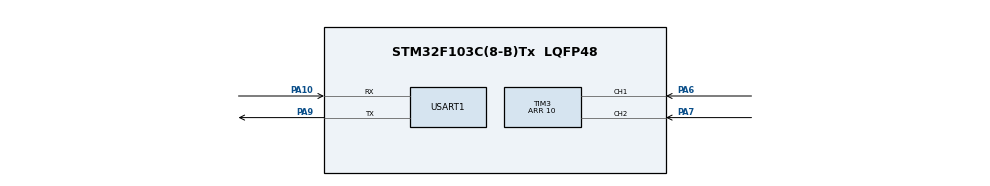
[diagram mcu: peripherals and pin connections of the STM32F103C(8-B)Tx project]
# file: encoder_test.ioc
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Mcu.Family=STM32F1
Mcu.Name=STM32F103C(8-B)Tx
Mcu.Package=LQFP48
NVIC.PriorityGroup=NVIC_PRIORITYGROUP_4
PA10.Mode=Asynchronous
PA10.Signal=USART1_RX
PA13.Mode=Serial_Wire
PA13.Signal=SYS_JTMS-SWDIO
PA14.Mode=Serial_Wire
PA14.Signal=SYS_JTCK-SWCLK
PA6.Signal=S_TIM3_CH1
PA7.Signal=S_TIM3_CH2
PA9.Mode=Asynchronous
PA9.Signal=USART1_TX
ProjectManager.HeapSize=0x200
ProjectManager.StackSize=0x400
ProjectManager.TargetToolchain=STM32CubeIDE
RCC.APB1Freq_Value=8000000
RCC.APB2Freq_Value=8000000
SH.S_TIM3_CH1.0=TIM3_CH1,Encoder_Interface
SH.S_TIM3_CH2.0=TIM3_CH2,Encoder_Interface
TIM3.AutoReloadPreload=TIM_AUTORELOAD_PRELOAD_ENABLE
TIM3.EncoderMode=TIM_ENCODERMODE_TI1
TIM3.Period=10
USART1.VirtualMode=VM_ASYNC
board=custom

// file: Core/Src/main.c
/* USER CODE BEGIN Header */
/**
 ******************************************************************************
 * @file           : main.c
 * @brief          : Main program body
 ******************************************************************************
 * @attention
 *
 * Copyright (c) 2024 STMicroelectronics.
 * All rights reserved.
 *
 * This software is licensed under terms that can be found in the LICENSE file
 * in the root directory of this software component.
 * If no LICENSE file comes with this software, it is provided AS-IS.
 *
 ******************************************************************************
 */
/* USER CODE END Header */
#include "main.h"

TIM_HandleTypeDef htim3;

UART_HandleTypeDef huart1;

void SystemClock_Config(void);
static void MX_GPIO_Init(void);
static void MX_TIM3_Init(void);
static void MX_USART1_UART_Init(void);

/* USER CODE BEGIN 0 */
#include <stdarg.h>
#include <stdio.h>
#include <string.h>

static void uart_printf(const char *format, ...) {
	char tmp[128];

	va_list argptr;
	va_start(argptr, format);
	vsprintf((char*) tmp, format, argptr);
	va_end(argptr);

	HAL_UART_Transmit(&huart1, (const uint8_t*) tmp, strlen(tmp),
			HAL_MAX_DELAY);
}
/* USER CODE END 0 */

int main(void)
{

  /* MCU Configuration--------------------------------------------------------*/

  /* Reset of all peripherals, Initializes the Flash interface and the Systick. */
  HAL_Init();

  /* Configure the system clock */
  SystemClock_Config();

  /* Initialize all configured peripherals */
  MX_GPIO_Init();
  MX_TIM3_Init();
  MX_USART1_UART_Init();
  /* USER CODE BEGIN 2 */
	HAL_TIM_Encoder_Start(&htim3, TIM_CHANNEL_1);
	HAL_TIM_Encoder_Start(&htim3, TIM_CHANNEL_2);
  /* USER CODE END 2 */

  /* Infinite loop */
  /* USER CODE BEGIN WHILE */
	while (1) {
		uint16_t cnt = __HAL_TIM_GET_COUNTER(&htim3);
		uart_printf("Count = %u\r\n", cnt);

		HAL_Delay(200);
    /* USER CODE END WHILE */

	}
}

void SystemClock_Config(void)
{
  RCC_OscInitTypeDef RCC_OscInitStruct = {0};
  RCC_ClkInitTypeDef RCC_ClkInitStruct = {0};

  /** Initializes the RCC Oscillators according to the specified parameters
  * in the RCC_OscInitTypeDef structure.
  */
  RCC_OscInitStruct.OscillatorType = RCC_OSCILLATORTYPE_HSI;
  RCC_OscInitStruct.HSIState = RCC_HSI_ON;
  RCC_OscInitStruct.HSICalibrationValue = RCC_HSICALIBRATION_DEFAULT;
  RCC_OscInitStruct.PLL.PLLState = RCC_PLL_NONE;
  if (HAL_RCC_OscConfig(&RCC_OscInitStruct) != HAL_OK)
  {
    Error_Handler();
  }

  /** Initializes the CPU, AHB and APB buses clocks
  */
  RCC_ClkInitStruct.ClockType = RCC_CLOCKTYPE_HCLK|RCC_CLOCKTYPE_SYSCLK
                              |RCC_CLOCKTYPE_PCLK1|RCC_CLOCKTYPE_PCLK2;
  RCC_ClkInitStruct.SYSCLKSource = RCC_SYSCLKSOURCE_HSI;
  RCC_ClkInitStruct.AHBCLKDivider = RCC_SYSCLK_DIV1;
  RCC_ClkInitStruct.APB1CLKDivider = RCC_HCLK_DIV1;
  RCC_ClkInitStruct.APB2CLKDivider = RCC_HCLK_DIV1;

  if (HAL_RCC_ClockConfig(&RCC_ClkInitStruct, FLASH_LATENCY_0) != HAL_OK)
  {
    Error_Handler();
  }
}

static void MX_TIM3_Init(void)
{

  TIM_Encoder_InitTypeDef sConfig = {0};
  TIM_MasterConfigTypeDef sMasterConfig = {0};

  htim3.Instance = TIM3;
  htim3.Init.Prescaler = 0;
  htim3.Init.CounterMode = TIM_COUNTERMODE_UP;
  htim3.Init.Period = 10;
  htim3.Init.ClockDivision = TIM_CLOCKDIVISION_DIV1;
  htim3.Init.AutoReloadPreload = TIM_AUTORELOAD_PRELOAD_ENABLE;
  sConfig.EncoderMode = TIM_ENCODERMODE_TI1;
  sConfig.IC1Polarity = TIM_ICPOLARITY_RISING;
  sConfig.IC1Selection = TIM_ICSELECTION_DIRECTTI;
  sConfig.IC1Prescaler = TIM_ICPSC_DIV1;
  sConfig.IC1Filter = 0;
  sConfig.IC2Polarity = TIM_ICPOLARITY_RISING;
  sConfig.IC2Selection = TIM_ICSELECTION_DIRECTTI;
  sConfig.IC2Prescaler = TIM_ICPSC_DIV1;
  sConfig.IC2Filter = 0;
  if (HAL_TIM_Encoder_Init(&htim3, &sConfig) != HAL_OK)
  {
    Error_Handler();
  }
  sMasterConfig.MasterOutputTrigger = TIM_TRGO_RESET;
  sMasterConfig.MasterSlaveMode = TIM_MASTERSLAVEMODE_DISABLE;
  if (HAL_TIMEx_MasterConfigSynchronization(&htim3, &sMasterConfig) != HAL_OK)
  {
    Error_Handler();
  }

}

static void MX_USART1_UART_Init(void)
{

  huart1.Instance = USART1;
  huart1.Init.BaudRate = 115200;
  huart1.Init.WordLength = UART_WORDLENGTH_8B;
  huart1.Init.StopBits = UART_STOPBITS_1;
  huart1.Init.Parity = UART_PARITY_NONE;
  huart1.Init.Mode = UART_MODE_TX_RX;
  huart1.Init.HwFlowCtl = UART_HWCONTROL_NONE;
  huart1.Init.OverSampling = UART_OVERSAMPLING_16;
  if (HAL_UART_Init(&huart1) != HAL_OK)
  {
    Error_Handler();
  }

}

static void MX_GPIO_Init(void)
{

  /* GPIO Ports Clock Enable */
  __HAL_RCC_GPIOA_CLK_ENABLE();

}

void Error_Handler(void)
{
	__disable_irq();
	while (1) {
	}
}
